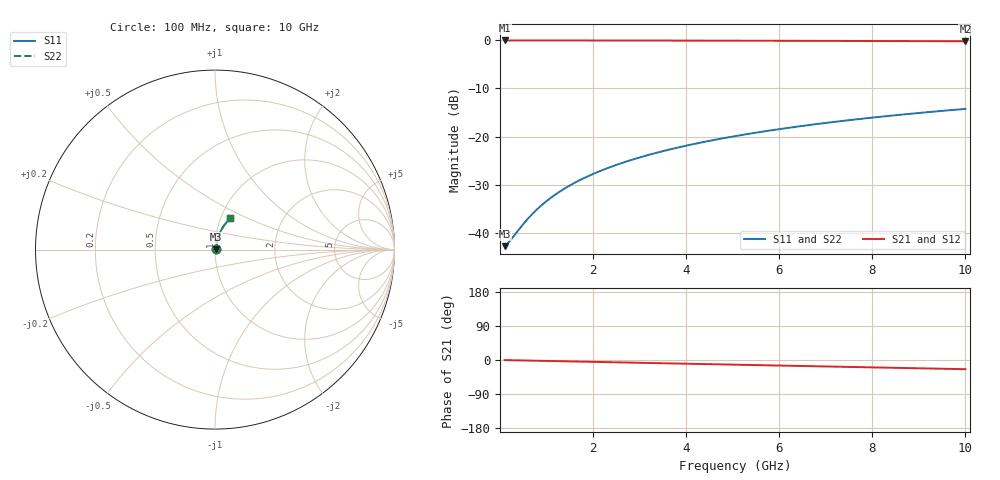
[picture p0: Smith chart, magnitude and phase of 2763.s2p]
# Hz S RI R 50.00
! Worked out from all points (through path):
!   100 points, 100 MHz to 10 GHz, reference 50 ohm
!   highest |S21| = -0.06 dB at 100 MHz (marker M1); lowest = -0.2 dB at 10 GHz (marker M2)
!   group delay of S21, straight-line fit = 6.74 ps
!   lowest |S11| = -42.7 dB at 100 MHz (marker M3), VSWR 1.01, Z = 50.7 + j0.202 ohm
!   |S11| at or under -10 dB: start of sweep to end of sweep
!   |S22| runs from -42.7 to -14.3 dB; largest |S21 - S12| = 0
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1e8  0.00703 0.00199  0.993 -0.00425  0.993 -0.00425  0.00703 0.00199
2e8  0.0071 0.00397  0.9929 -0.00849  0.9929 -0.00849  0.0071 0.00397
5e8  0.00736 0.00993  0.9926 -0.0212  0.9926 -0.0212  0.00736 0.00993
6e8  0.00747 0.0119  0.9924 -0.0255  0.9924 -0.0255  0.00747 0.0119
7e8  0.0076 0.0139  0.9923 -0.0297  0.9923 -0.0297  0.0076 0.0139
9e8  0.00791 0.0179  0.9919 -0.0382  0.9919 -0.0382  0.00791 0.0179
1.1e9  0.00827 0.0218  0.9914 -0.0467  0.9914 -0.0467  0.00827 0.0218
1.3e9  0.0087 0.0258  0.9908 -0.0551  0.9908 -0.0551  0.0087 0.0258
1.5e9  0.0092 0.0297  0.9902 -0.0636  0.9902 -0.0636  0.0092 0.0297
1.8e9  0.0101 0.0356  0.9891 -0.0762  0.9891 -0.0762  0.0101 0.0356
2.1e9  0.0111 0.0415  0.9877 -0.0889  0.9877 -0.0889  0.0111 0.0415
2.5e9  0.0127 0.0492  0.9857 -0.1057  0.9857 -0.1057  0.0127 0.0492
2.9e9  0.0145 0.0569  0.9833 -0.1224  0.9833 -0.1224  0.0145 0.0569
3.4e9  0.0172 0.0664  0.9798 -0.1433  0.9798 -0.1433  0.0172 0.0664
3.8e9  0.0196 0.074  0.9766 -0.1599  0.9766 -0.1599  0.0196 0.074
4.2e9  0.0223 0.0814  0.9731 -0.1763  0.9731 -0.1763  0.0223 0.0814
5.1e9  0.0292 0.0977  0.964 -0.213  0.964 -0.213  0.0292 0.0977
5.9e9  0.0364 0.1117  0.9545 -0.2451  0.9545 -0.2451  0.0364 0.1117
6.7e9  0.0444 0.1252  0.9438 -0.2767  0.9438 -0.2767  0.0444 0.1252
7.5e9  0.0534 0.138  0.9319 -0.3077  0.9319 -0.3077  0.0534 0.138
8.4e9  0.0644 0.1516  0.9172 -0.3417  0.9172 -0.3417  0.0644 0.1516
1e10  0.0862 0.1734  0.8875 -0.3998  0.8875 -0.3998  0.0862 0.1734
